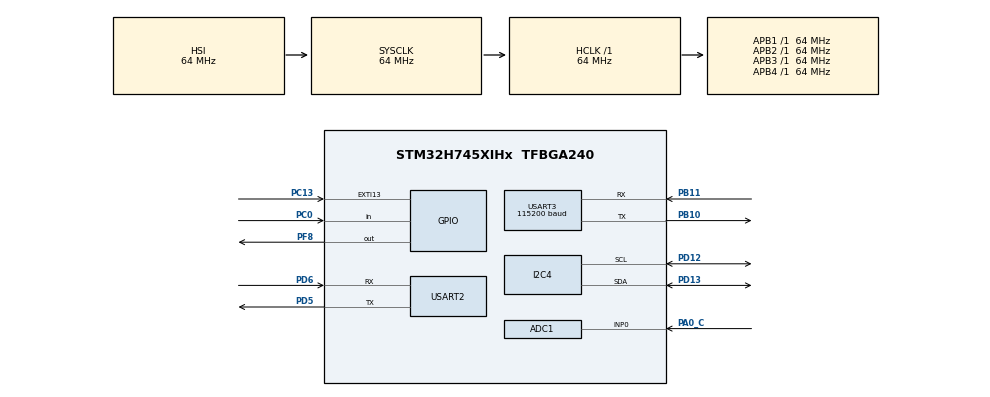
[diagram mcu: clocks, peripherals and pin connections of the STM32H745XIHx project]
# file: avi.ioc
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ADC1.Channel-3\#ChannelRegularConversion=ADC_CHANNEL_0
ADC1.NbrOfConversionFlag=1
ADC1.OffsetNumber-3\#ChannelRegularConversion=ADC_OFFSET_NONE
ADC1.OffsetSignedSaturation-3\#ChannelRegularConversion=DISABLE
ADC1.Rank-3\#ChannelRegularConversion=1
ADC1.SamplingTime-3\#ChannelRegularConversion=ADC_SAMPLETIME_1CYCLE_5
ADC1.master=1
CortexM4.IPs=FATFS_M4\:I,FREERTOS_M4\:I,IWDG2\:I,RCC,USB_DEVICE_M4\:I,USB_HOST_M4\:I,WWDG2\:I,DMA,BDMA,MDMA,NVIC2\:I,ETH\:I,FDCAN1\:I,FDCAN2\:I,FMC\:I,QUADSPI\:I,SAI2\:I,SDMMC1\:I,LTDC\:I,USB_OTG_FS\:I,SAI4\:I,DEBUG,PDM2PCM_M4\:I,PWR,RESMGR_UTILITY,SYS_M4\:I,CORTEX_M4\:I,OPENAMP_M4\:I,VREFBUF,GPIO
CortexM7.IPs=FATFS_M7\:I,FREERTOS_M7\:I,IWDG1\:I,RCC\:I,USB_DEVICE_M7\:I,USB_HOST_M7\:I,WWDG1\:I,DMA\:I,BDMA\:I,MDMA\:I,NVIC1\:I,CORTEX_M7\:I,DEBUG\:I,PDM2PCM_M7\:I,PWR\:I,RESMGR_UTILITY\:I,SYS\:I,OPENAMP_M7\:I,VREFBUF\:I,GPIO\:I,MEMORYMAP\:I,USART3\:I,I2C4\:I,USART2\:I,ADC1\:I
CortexM7.Pins=PC13,PF8,PC0
Mcu.Family=STM32H7
Mcu.Name=STM32H745XIHx
Mcu.Package=TFBGA240
NVIC1.EXTI15_10_IRQn=true\:0\:0\:false\:false\:true\:true\:true\:true
NVIC1.PriorityGroup=NVIC_PRIORITYGROUP_4
NVIC2.PriorityGroup=NVIC_PRIORITYGROUP_4
PA0_C.PinAttribute=CortexM7
PA0_C.Signal=ADCx_INP0
PB10.Mode=Asynchronous
PB10.PinAttribute=CortexM7
PB10.Signal=USART3_TX
PB11.Mode=Asynchronous
PB11.PinAttribute=CortexM7
PB11.Signal=USART3_RX
PC0.PinAttribute=CortexM7
PC0.Signal=GPIO_Input
PC13.PinAttribute=CortexM7
PC13.Signal=GPXTI13
PC14-OSC32_IN\ (OSC32_IN).Mode=LSE-External-Clock-Source
PC14-OSC32_IN\ (OSC32_IN).PinAttribute=Free
PC14-OSC32_IN\ (OSC32_IN).Signal=RCC_OSC32_IN
PD12.Mode=I2C
PD12.PinAttribute=CortexM7
PD12.Signal=I2C4_SCL
PD13.Mode=I2C
PD13.PinAttribute=CortexM7
PD13.Signal=I2C4_SDA
PD5.Mode=Asynchronous
PD5.PinAttribute=CortexM7
PD5.Signal=USART2_TX
PD6.Mode=Asynchronous
PD6.PinAttribute=CortexM7
PD6.Signal=USART2_RX
PF8.PinAttribute=CortexM7
PF8.Signal=GPIO_Output
PH0-OSC_IN\ (PH0).Mode=HSE-External-Clock-Source
PH0-OSC_IN\ (PH0).PinAttribute=Free
PH0-OSC_IN\ (PH0).Signal=RCC_OSC_IN
ProjectManager.HeapSize=M4-0x200,M7-0x200
ProjectManager.StackSize=M4-0x400,M7-0x400
ProjectManager.TargetToolchain=STM32CubeIDE
RCC.ADCFreq_Value=75000000
RCC.APB1Freq_Value=64000000
RCC.APB2Freq_Value=64000000
RCC.APB3Freq_Value=64000000
RCC.APB4Freq_Value=64000000
RCC.CortexFreq_Value=64000000
RCC.DIVM1=23
RCC.DIVM2=2
RCC.DIVN1=177
RCC.DIVN2=12
RCC.DIVN3=192
RCC.DIVQ1=4
RCC.DIVR1=4
RCC.HCLKFreq_Value=64000000
RCC.PLL2FRACN=0
RCC.PLL3FRACN=0
RCC.PLLFRACN=0
RCC.PLLSourceVirtual=RCC_PLLSOURCE_HSE
RCC.PWR_Regulator_Voltage_Scale=PWR_REGULATOR_VOLTAGE_SCALE2
RCC.SYSCLKFreq_VALUE=64000000
RCC.SupplySource=PWR_DIRECT_SMPS_SUPPLY
RCC.USBFreq_Value=48097826.086956516
SH.ADCx_INP0.0=ADC1_INP0,IN0-Single-Ended
USART2.VirtualMode-Asynchronous=VM_ASYNC
USART3.BaudRate=115200
USART3.VirtualMode-Asynchronous=VM_ASYNC
VP_MEMORYMAP_VS_MEMORYMAP.Mode=CurAppReg
VP_SYS_M4_VS_Systick.Mode=SysTick
board=STM32H745I-DISCO

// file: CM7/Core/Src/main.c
/* USER CODE BEGIN Header */
/**
  ******************************************************************************
  * @file           : main.c
  * @brief          : Main program body
  ******************************************************************************
  * @attention
  *
  * Copyright (c) 2025 STMicroelectronics.
  * All rights reserved.
  *
  * This software is licensed under terms that can be found in the LICENSE file
  * in the root directory of this software component.
  * If no LICENSE file comes with this software, it is provided AS-IS.
  *
  ******************************************************************************
  */
/* USER CODE END Header */
#include "main.h"

/* USER CODE BEGIN Includes */
#include "sh2.h"
#include "sh2_hal.h"
#include "sh2_util.h"
#include "sh2_SensorValue.h"
#include "stdio.h"

/* USER CODE END Includes */

/* USER CODE BEGIN PD */

#ifndef HSEM_ID_0
#define HSEM_ID_0 (0U) /* HW semaphore 0*/
#endif

/* USER CODE END PD */

ADC_HandleTypeDef hadc1;

I2C_HandleTypeDef hi2c4;

UART_HandleTypeDef huart2;
UART_HandleTypeDef huart3;

/* USER CODE BEGIN PV */
float temp_s1 = 0;
uint8_t temp_b[2];
uint8_t t = 1;
volatile uint8_t tare_request = 0;
/* USER CODE END PV */

void SystemClock_Config(void);
static void MX_GPIO_Init(void);
static void MX_I2C4_Init(void);
static void MX_USART3_UART_Init(void);
static void MX_USART2_UART_Init(void);
static void MX_ADC1_Init(void);

/* USER CODE BEGIN 0 */
void ReadTemp()
{
  int16_t temp16;
  HAL_UART_Receive(&huart2, temp_b, sizeof(temp_b), 1);
  temp16 = (temp_b[0] << 8) | temp_b[1];
  temp16 >>=3;
  if(temp16 & 0x1000){
  		temp_s1 = (temp16 - 8192)/16.0;
  	}else{
  		temp_s1 = temp16 / 16.0;
  	}
}

/* USER CODE END 0 */

int main(void)
{

/* USER CODE BEGIN Boot_Mode_Sequence_0 */
  int32_t timeout;
/* USER CODE END Boot_Mode_Sequence_0 */

/* USER CODE BEGIN Boot_Mode_Sequence_1 */
  /* Wait until CPU2 boots and enters in stop mode or timeout*/
  timeout = 0xFFFF;
  while((__HAL_RCC_GET_FLAG(RCC_FLAG_D2CKRDY) != RESET) && (timeout-- > 0));
  if ( timeout < 0 )
  {
  Error_Handler();
  }
/* USER CODE END Boot_Mode_Sequence_1 */
  /* MCU Configuration--------------------------------------------------------*/

  /* Reset of all peripherals, Initializes the Flash interface and the Systick. */
  HAL_Init();

  /* Configure the system clock */
  SystemClock_Config();
/* USER CODE BEGIN Boot_Mode_Sequence_2 */
/* When system initialization is finished, Cortex-M7 will release Cortex-M4 by means of
HSEM notification */
/*HW semaphore Clock enable*/
__HAL_RCC_HSEM_CLK_ENABLE();
/*Take HSEM */
HAL_HSEM_FastTake(HSEM_ID_0);
/*Release HSEM in order to notify the CPU2(CM4)*/
HAL_HSEM_Release(HSEM_ID_0,0);
/* wait until CPU2 wakes up from stop mode */
timeout = 0xFFFF;
while((__HAL_RCC_GET_FLAG(RCC_FLAG_D2CKRDY) == RESET) && (timeout-- > 0));
if ( timeout < 0 )
{
Error_Handler();
}
/* USER CODE END Boot_Mode_Sequence_2 */

  /* Initialize all configured peripherals */
  MX_GPIO_Init();
  MX_I2C4_Init();
  MX_USART3_UART_Init();
  MX_USART2_UART_Init();
  MX_ADC1_Init();

  /* Infinite loop */
  /* USER CODE BEGIN WHILE */

  IMU_Config imu_cfg = {
		  .i2cHandle = &hi2c4,
		  .i2cAddr = (0x4B << 1),
		  .intnPort = GPIOC,
		  .intnPin = GPIO_PIN_8,
		  .rstPort = GPIOF,
		  .rstPin = GPIO_PIN_8
  };
  SH2_HAL_Setup(&imu_cfg);
  IMU_Init();
  //HAL_UART_Receive_IT(&huart2, temp_b, sizeof(temp_b));
  HAL_Delay(1000);
  uint16_t raw_adc = 0;
  float iv = 0;
  float mv = 0;

  while (1)
  {
	  IMU_Service();
	  ReadTemp(&huart2);
	  printf("A: X=%.2f Y=%.2f Z=%.2f | G: X=%.2f Y=%.2f Z=%.2f | M: X=%.2f Y=%.2f Z=%.2f | r=%.3f x=%.3f y=%.3f z=%.3f | Temp= %.2f C | VBatt = %.2f \r\n",
	             imuData.ax, imuData.ay, imuData.az,
	             imuData.gx, imuData.gy, imuData.gz,
				 imuData.mx, imuData.my, imuData.mz,
				 imuData.r, imuData.i, imuData.j, imuData.k,
				 temp_s1, iv);
	  if(tare_request == 1){
		  tare_request = 0;
		  Tare();
	  }
	  HAL_ADC_Start(&hadc1);
	  HAL_ADC_PollForConversion(&hadc1, HAL_MAX_DELAY);
	  raw_adc = HAL_ADC_GetValue(&hadc1);
	  HAL_ADC_Stop(&hadc1);
	  mv = (3.3 * raw_adc) / 65536;
	  iv = mv * ((68.0 + 15.0) / 15.0);
    /* USER CODE END WHILE */

  }
}

void SystemClock_Config(void)
{
  RCC_OscInitTypeDef RCC_OscInitStruct = {0};
  RCC_ClkInitTypeDef RCC_ClkInitStruct = {0};

  /** Supply configuration update enable
  */
  HAL_PWREx_ConfigSupply(PWR_DIRECT_SMPS_SUPPLY);

  /** Configure the main internal regulator output voltage
  */
  __HAL_PWR_VOLTAGESCALING_CONFIG(PWR_REGULATOR_VOLTAGE_SCALE2);

  while(!__HAL_PWR_GET_FLAG(PWR_FLAG_VOSRDY)) {}

  /** Macro to configure the PLL clock source
  */
  __HAL_RCC_PLL_PLLSOURCE_CONFIG(RCC_PLLSOURCE_HSE);

  /** Initializes the RCC Oscillators according to the specified parameters
  * in the RCC_OscInitTypeDef structure.
  */
  RCC_OscInitStruct.OscillatorType = RCC_OSCILLATORTYPE_HSI|RCC_OSCILLATORTYPE_HSE;
  RCC_OscInitStruct.HSEState = RCC_HSE_BYPASS;
  RCC_OscInitStruct.HSIState = RCC_HSI_DIV1;
  RCC_OscInitStruct.HSICalibrationValue = RCC_HSICALIBRATION_DEFAULT;
  RCC_OscInitStruct.PLL.PLLState = RCC_PLL_NONE;
  if (HAL_RCC_OscConfig(&RCC_OscInitStruct) != HAL_OK)
  {
    Error_Handler();
  }

  /** Initializes the CPU, AHB and APB buses clocks
  */
  RCC_ClkInitStruct.ClockType = RCC_CLOCKTYPE_HCLK|RCC_CLOCKTYPE_SYSCLK
                              |RCC_CLOCKTYPE_PCLK1|RCC_CLOCKTYPE_PCLK2
                              |RCC_CLOCKTYPE_D3PCLK1|RCC_CLOCKTYPE_D1PCLK1;
  RCC_ClkInitStruct.SYSCLKSource = RCC_SYSCLKSOURCE_HSI;
  RCC_ClkInitStruct.SYSCLKDivider = RCC_SYSCLK_DIV1;
  RCC_ClkInitStruct.AHBCLKDivider = RCC_HCLK_DIV1;
  RCC_ClkInitStruct.APB3CLKDivider = RCC_APB3_DIV1;
  RCC_ClkInitStruct.APB1CLKDivider = RCC_APB1_DIV1;
  RCC_ClkInitStruct.APB2CLKDivider = RCC_APB2_DIV1;
  RCC_ClkInitStruct.APB4CLKDivider = RCC_APB4_DIV1;

  if (HAL_RCC_ClockConfig(&RCC_ClkInitStruct, FLASH_LATENCY_1) != HAL_OK)
  {
    Error_Handler();
  }
}

static void MX_ADC1_Init(void)
{

  ADC_MultiModeTypeDef multimode = {0};
  ADC_ChannelConfTypeDef sConfig = {0};

  /** Common config
  */
  hadc1.Instance = ADC1;
  hadc1.Init.ClockPrescaler = ADC_CLOCK_ASYNC_DIV2;
  hadc1.Init.Resolution = ADC_RESOLUTION_16B;
  hadc1.Init.ScanConvMode = ADC_SCAN_DISABLE;
  hadc1.Init.EOCSelection = ADC_EOC_SINGLE_CONV;
  hadc1.Init.LowPowerAutoWait = DISABLE;
  hadc1.Init.ContinuousConvMode = DISABLE;
  hadc1.Init.NbrOfConversion = 1;
  hadc1.Init.DiscontinuousConvMode = DISABLE;
  hadc1.Init.ExternalTrigConv = ADC_SOFTWARE_START;
  hadc1.Init.ExternalTrigConvEdge = ADC_EXTERNALTRIGCONVEDGE_NONE;
  hadc1.Init.ConversionDataManagement = ADC_CONVERSIONDATA_DR;
  hadc1.Init.Overrun = ADC_OVR_DATA_PRESERVED;
  hadc1.Init.LeftBitShift = ADC_LEFTBITSHIFT_NONE;
  hadc1.Init.OversamplingMode = DISABLE;
  hadc1.Init.Oversampling.Ratio = 1;
  if (HAL_ADC_Init(&hadc1) != HAL_OK)
  {
    Error_Handler();
  }

  /** Configure the ADC multi-mode
  */
  multimode.Mode = ADC_MODE_INDEPENDENT;
  if (HAL_ADCEx_MultiModeConfigChannel(&hadc1, &multimode) != HAL_OK)
  {
    Error_Handler();
  }

  /** Configure Regular Channel
  */
  sConfig.Channel = ADC_CHANNEL_0;
  sConfig.Rank = ADC_REGULAR_RANK_1;
  sConfig.SamplingTime = ADC_SAMPLETIME_1CYCLE_5;
  sConfig.SingleDiff = ADC_SINGLE_ENDED;
  sConfig.OffsetNumber = ADC_OFFSET_NONE;
  sConfig.Offset = 0;
  sConfig.OffsetSignedSaturation = DISABLE;
  if (HAL_ADC_ConfigChannel(&hadc1, &sConfig) != HAL_OK)
  {
    Error_Handler();
  }

}

static void MX_I2C4_Init(void)
{

  hi2c4.Instance = I2C4;
  hi2c4.Init.Timing = 0x10707DBC;
  hi2c4.Init.OwnAddress1 = 0;
  hi2c4.Init.AddressingMode = I2C_ADDRESSINGMODE_7BIT;
  hi2c4.Init.DualAddressMode = I2C_DUALADDRESS_DISABLE;
  hi2c4.Init.OwnAddress2 = 0;
  hi2c4.Init.OwnAddress2Masks = I2C_OA2_NOMASK;
  hi2c4.Init.GeneralCallMode = I2C_GENERALCALL_DISABLE;
  hi2c4.Init.NoStretchMode = I2C_NOSTRETCH_DISABLE;
  if (HAL_I2C_Init(&hi2c4) != HAL_OK)
  {
    Error_Handler();
  }

  /** Configure Analogue filter
  */
  if (HAL_I2CEx_ConfigAnalogFilter(&hi2c4, I2C_ANALOGFILTER_ENABLE) != HAL_OK)
  {
    Error_Handler();
  }

  /** Configure Digital filter
  */
  if (HAL_I2CEx_ConfigDigitalFilter(&hi2c4, 0) != HAL_OK)
  {
    Error_Handler();
  }

}

static void MX_USART2_UART_Init(void)
{

  huart2.Instance = USART2;
  huart2.Init.BaudRate = 115200;
  huart2.Init.WordLength = UART_WORDLENGTH_8B;
  huart2.Init.StopBits = UART_STOPBITS_1;
  huart2.Init.Parity = UART_PARITY_NONE;
  huart2.Init.Mode = UART_MODE_TX_RX;
  huart2.Init.HwFlowCtl = UART_HWCONTROL_NONE;
  huart2.Init.OverSampling = UART_OVERSAMPLING_16;
  huart2.Init.OneBitSampling = UART_ONE_BIT_SAMPLE_DISABLE;
  huart2.Init.ClockPrescaler = UART_PRESCALER_DIV1;
  huart2.AdvancedInit.AdvFeatureInit = UART_ADVFEATURE_NO_INIT;
  if (HAL_UART_Init(&huart2) != HAL_OK)
  {
    Error_Handler();
  }
  if (HAL_UARTEx_SetTxFifoThreshold(&huart2, UART_TXFIFO_THRESHOLD_1_8) != HAL_OK)
  {
    Error_Handler();
  }
  if (HAL_UARTEx_SetRxFifoThreshold(&huart2, UART_RXFIFO_THRESHOLD_1_8) != HAL_OK)
  {
    Error_Handler();
  }
  if (HAL_UARTEx_DisableFifoMode(&huart2) != HAL_OK)
  {
    Error_Handler();
  }

}

static void MX_USART3_UART_Init(void)
{

  huart3.Instance = USART3;
  huart3.Init.BaudRate = 115200;
  huart3.Init.WordLength = UART_WORDLENGTH_8B;
  huart3.Init.StopBits = UART_STOPBITS_1;
  huart3.Init.Parity = UART_PARITY_NONE;
  huart3.Init.Mode = UART_MODE_TX_RX;
  huart3.Init.HwFlowCtl = UART_HWCONTROL_NONE;
  huart3.Init.OverSampling = UART_OVERSAMPLING_16;
  huart3.Init.OneBitSampling = UART_ONE_BIT_SAMPLE_DISABLE;
  huart3.Init.ClockPrescaler = UART_PRESCALER_DIV1;
  huart3.AdvancedInit.AdvFeatureInit = UART_ADVFEATURE_NO_INIT;
  if (HAL_UART_Init(&huart3) != HAL_OK)
  {
    Error_Handler();
  }
  if (HAL_UARTEx_SetTxFifoThreshold(&huart3, UART_TXFIFO_THRESHOLD_1_8) != HAL_OK)
  {
    Error_Handler();
  }
  if (HAL_UARTEx_SetRxFifoThreshold(&huart3, UART_RXFIFO_THRESHOLD_1_8) != HAL_OK)
  {
    Error_Handler();
  }
  if (HAL_UARTEx_DisableFifoMode(&huart3) != HAL_OK)
  {
    Error_Handler();
  }

}

static void MX_GPIO_Init(void)
{
  GPIO_InitTypeDef GPIO_InitStruct = {0};

  /* GPIO Ports Clock Enable */
  __HAL_RCC_GPIOD_CLK_ENABLE();
  __HAL_RCC_GPIOC_CLK_ENABLE();
  __HAL_RCC_GPIOF_CLK_ENABLE();
  __HAL_RCC_GPIOB_CLK_ENABLE();
  __HAL_RCC_GPIOA_CLK_ENABLE();

  /*Configure GPIO pin Output Level */
  HAL_GPIO_WritePin(GPIOF, GPIO_PIN_8, GPIO_PIN_RESET);

  /*Configure GPIO pin : PC13 */
  GPIO_InitStruct.Pin = GPIO_PIN_13;
  GPIO_InitStruct.Mode = GPIO_MODE_IT_RISING;
  GPIO_InitStruct.Pull = GPIO_NOPULL;
  HAL_GPIO_Init(GPIOC, &GPIO_InitStruct);

  /*Configure GPIO pin : PF8 */
  GPIO_InitStruct.Pin = GPIO_PIN_8;
  GPIO_InitStruct.Mode = GPIO_MODE_OUTPUT_PP;
  GPIO_InitStruct.Pull = GPIO_NOPULL;
  GPIO_InitStruct.Speed = GPIO_SPEED_FREQ_LOW;
  HAL_GPIO_Init(GPIOF, &GPIO_InitStruct);

  /*Configure GPIO pin : PC0 */
  GPIO_InitStruct.Pin = GPIO_PIN_0;
  GPIO_InitStruct.Mode = GPIO_MODE_INPUT;
  GPIO_InitStruct.Pull = GPIO_NOPULL;
  HAL_GPIO_Init(GPIOC, &GPIO_InitStruct);

  /* EXTI interrupt init*/
  HAL_NVIC_SetPriority(EXTI15_10_IRQn, 0, 0);
  HAL_NVIC_EnableIRQ(EXTI15_10_IRQn);

}

/* USER CODE BEGIN 4 */
int __io_putchar(int ch) {
    HAL_UART_Transmit(&huart3, (uint8_t *)&ch, 1, HAL_MAX_DELAY);
    return ch;
}

void HAL_GPIO_EXTI_Callback(uint16_t GPIO_Pin)
{
  if(GPIO_Pin == GPIO_PIN_13) {
	  tare_request = 1;
  }else{
	  __NOP();
  }
}

/* USER CODE END 4 */

void Error_Handler(void)
{
  __disable_irq();
  while (1)
  {
  }
}
